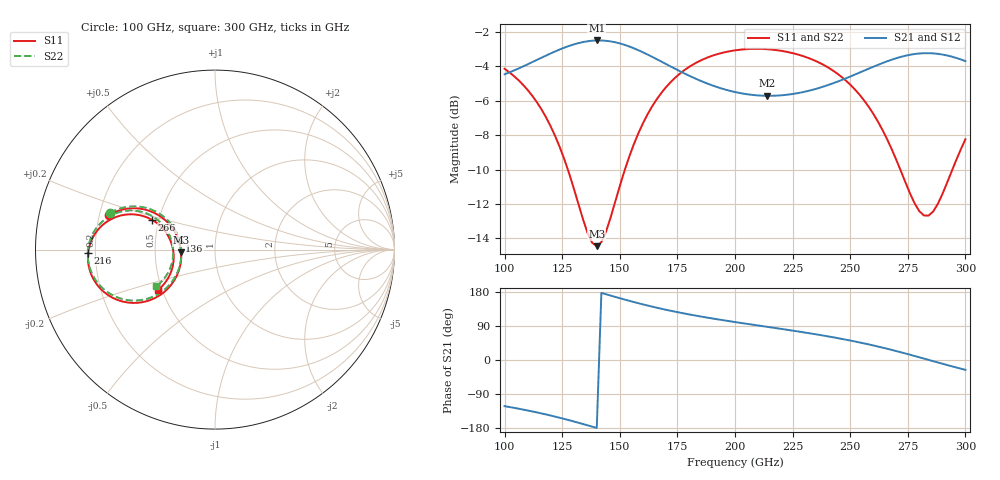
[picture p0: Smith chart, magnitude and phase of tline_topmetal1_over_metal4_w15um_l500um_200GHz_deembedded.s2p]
! Created with skrf 2.0.1 (http://scikit-rf.org).
# GHz S DB R 50.0
!freq dBS11 angS11 dBS21 angS21 dBS12 angS12 dBS22 angS22
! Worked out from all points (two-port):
!   101 points, 100 GHz to 300 GHz, reference 50 ohm
!   highest |S21| = -2.49 dB at 140 GHz (marker M1); lowest = -5.7 dB at 214 GHz (marker M2)
!   |S21| within 3 dB of the highest: start of sweep to 200 GHz; 229.7 GHz to end of sweep
!   lowest |S11| = -14.5 dB at 140 GHz (marker M3), VSWR 1.47, Z = 34.1 - j1.09 ohm
!   |S11| at or under -10 dB: 127.4 GHz to 152.2 GHz (24.79 GHz wide, 17.7 % of centre); 271.7 GHz to 294.3 GHz (22.61 GHz wide, 7.99 % of centre)
!   |S22| runs from -14.5 to -3.0 dB; largest |S21 - S12| = 9.7e-14
!   S11 on the Smith chart (normalised r, x): 100 GHz: 0.24, +0.15; 136 GHz: 0.66, +0.07; 216 GHz: 0.17, -0.01; 266 GHz: 0.46, +0.18; 300 GHz: 0.48, -0.25
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100  -4.13 162.0  -4.45 -121.8  -4.45 -121.8  -4.14 160.8
110  -5.37 155.0  -3.87 -133.2  -3.87 -133.2  -5.38 153.6
118  -6.96 150.2  -3.37 -143.7  -3.37 -143.7  -6.98 148.8
126  -9.43 148.9  -2.90 -155.7  -2.90 -155.7  -9.46 147.4
134  -12.88 159.8  -2.58 -168.9  -2.58 -168.9  -12.94 158.1
136  -13.69 166.5  -2.53 -172.4  -2.53 -172.4  -13.76 164.8
140  -14.46 -175.3  -2.49 -179.4  -2.49 -179.4  -14.54 -176.8
144  -13.62 -157.3  -2.51 173.5  -2.51 173.5  -13.69 -158.6
154  -9.29 -140.3  -2.83 156.4  -2.83 156.4  -9.31 -141.7
168  -5.54 -145.8  -3.71 135.3  -3.71 135.3  -5.55 -147.4
184  -3.72 -157.5  -4.77 116.0  -4.77 116.0  -3.73 -159.4
200  -3.06 -168.5  -5.49 100.2  -5.49 100.2  -3.07 -170.6
214  -3.00 -177.4  -5.71 87.5  -5.71 87.5  -3.00 -179.6
216  -3.02 -178.7  -5.71 85.7  -5.71 85.7  -3.02 179.1
234  -3.62 170.1  -5.35 68.9  -5.35 68.9  -3.62 167.7
252  -5.33 159.0  -4.47 48.9  -4.47 48.9  -5.33 156.5
266  -8.23 154.7  -3.70 29.7  -3.70 29.7  -8.22 152.0
268  -8.81 155.2  -3.61 26.7  -3.61 26.7  -8.79 152.5
278  -11.97 169.0  -3.27 10.5  -3.27 10.5  -11.93 166.1
284  -12.68 -171.7  -3.23 0.4  -3.23 0.4  -12.63 -174.8
292  -10.79 -150.7  -3.36 -13.1  -3.36 -13.1  -10.75 -154.0
300  -8.24 -144.7  -3.69 -26.0  -3.69 -26.0  -8.23 -148.1
